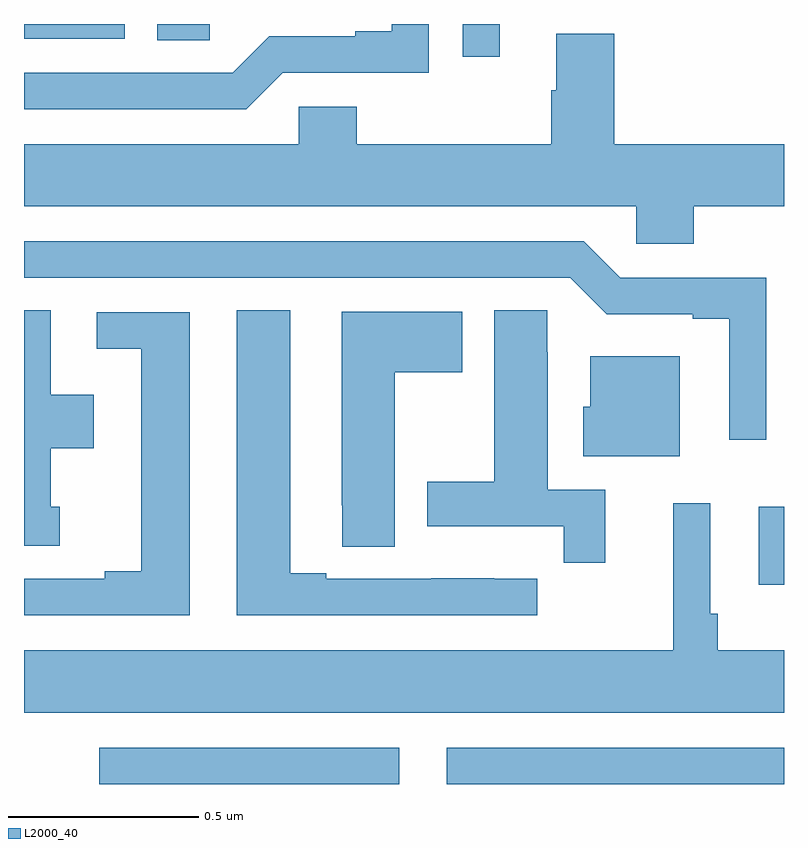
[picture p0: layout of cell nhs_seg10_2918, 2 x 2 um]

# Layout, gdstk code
import gdstk
lib = gdstk.Library(unit=1e-6, precision=1e-09)
def R(c, l, rs):  # rectangles x0, y0, x1, y1
    for r in rs: c.add(gdstk.rectangle(r[:2], r[2:], *l))
def P(c, l, *ps):  # polygons
    for p in ps: c.add(gdstk.Polygon(p, *l))
L2000_40 = (2000, 40)

nhs_seg10_2918 = lib.new_cell('nhs_seg10_2918')
R(nhs_seg10_2918, L2000_40, [(147.198,1261.5,147.988,1261.596), (148.112,1261.5,149,1261.596), (148.934,1262.024,149,1262.23), (148.155,1263.414,148.252,1263.5), (147.35,1263.457,147.489,1263.5), (147,1263.461,147.265,1263.5)])
P(nhs_seg10_2918, L2000_40, [(147.681,1263.372),(148.065,1263.372),(148.065,1263.5),(147.968,1263.5),(147.968,1263.481),(147.872,1263.481),(147.872,1263.468),(147.645,1263.468),(147.549,1263.372),(147,1263.372),(147,1263.276),(147.585,1263.276)],
  [(148.763,1263.02),(149,1263.02),(149,1263.184),(148.553,1263.184),(148.553,1263.475),(148.4,1263.475),(148.4,1263.326),(148.388,1263.326),(148.388,1263.184),(147.875,1263.184),(147.875,1263.282),(147.723,1263.282),(147.723,1263.184),(147,1263.184),(147,1263.02),(148.611,1263.02),(148.611,1262.922),(148.763,1262.922)],
  [(148.953,1262.832),(148.569,1262.832),(148.473,1262.928),(147,1262.928),(147,1262.832),(148.437,1262.832),(148.533,1262.736),(148.76,1262.736),(148.76,1262.724),(148.856,1262.724),(148.856,1262.406),(148.953,1262.406)],
  [(148.529,1262.274),(148.378,1262.274),(148.378,1262.636),(148.377,1262.636),(148.377,1262.747),(148.238,1262.747),(148.238,1262.295),(148.061,1262.295),(148.061,1262.178),(148.42,1262.178),(148.42,1262.082),(148.529,1262.082)],
  [(148.351,1262.04),(148.238,1262.04),(148.238,1262.041),(148.072,1262.041),(148.072,1262.04),(147.796,1262.04),(147.796,1262.055),(147.7,1262.055),(147.7,1262.747),(147.56,1262.747),(147.56,1261.944),(148.351,1261.944)],
  [(147.094,1262.229),(147.07,1262.229),(147.07,1262.384),(147.184,1262.384),(147.184,1262.524),(147.07,1262.524),(147.07,1262.747),(147,1262.747),(147,1262.127),(147.094,1262.127)],
  [(147.976,1262.584),(148.153,1262.584),(148.153,1262.743),(147.836,1262.743),(147.836,1262.233),(147.837,1262.233),(147.837,1262.125),(147.976,1262.125)],
  [(147.436,1262.742),(147.192,1262.742),(147.192,1262.646),(147.308,1262.646),(147.308,1262.06),(147.212,1262.06),(147.212,1262.04),(147,1262.04),(147,1261.944),(147.436,1261.944)],
  [(148.726,1262.626),(148.49,1262.626),(148.49,1262.493),(148.472,1262.493),(148.472,1262.363),(148.726,1262.363)],
  [(149,1261.852),(148.826,1261.852),(148.826,1261.948),(148.806,1261.948),(148.806,1262.239),(148.709,1262.239),(148.709,1261.852),(147,1261.852),(147,1261.688),(149,1261.688)])

lib.write_gds('nhs_seg10_2918.gds')
